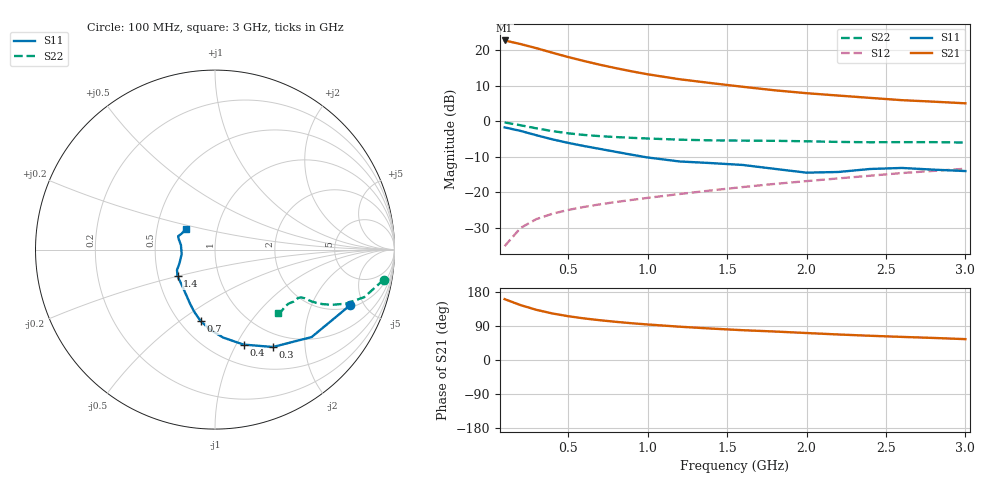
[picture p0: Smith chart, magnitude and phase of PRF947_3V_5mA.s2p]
! Filename:  PRF947D.S2P  Version:  3.0
! Philips part #:  PRF947  Date:  Dec 1999
! Bias condition:  Vce=3V, Ic=5mA
#  MHz  S  MA  R 50
! Freq  S11  S21  S12  S22  :
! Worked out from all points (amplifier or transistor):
!   20 points, 100 MHz to 3 GHz, reference 50 ohm
!   highest |S21| = 22.7 dB at 100 MHz (marker M1)
!   |S21| within 3 dB of that: start of sweep to 364.7 MHz
!   unconditionally stable (mu >= 1): 1.463 GHz to end of sweep
!   at 400 MHz: K = 0.50, MSG = 22.7 dB, |S12| = -26.1 dB
!   at 1.2 GHz: K = 0.97, MSG = 16.2 dB, |S12| = -20.6 dB
!   at 3 GHz: K = 1.06, MAG = 7.7 dB, |S12| = -13.4 dB
!   S11 on the Smith chart (normalised r, x): 100 MHz: 2.15, -3.95; 300 MHz: 0.80, -1.44; 400 MHz: 0.70, -1.07; 700 MHz: 0.63, -0.60; 1.4 GHz: 0.63, -0.20; 3 GHz: 0.71, +0.17
100  0.8144 -22.3  13.64 160.6  0.01728 78.0  0.955 -10.1
200  0.7261 -42.2  12.15 144.9  0.03117 69.7  0.8728 -17.7
300  0.6312 -59.3  10.62 132.4  0.04158 64.5  0.7889 -22.4
400  0.5527 -73.2  9.17 122.9  0.04942 61.9  0.7215 -25.2
500  0.4923 -84.7  7.97 115.6  0.05588 61.0  0.672 -26.9
600  0.4447 -93.9  7.006 109.8  0.0617 61.1  0.6371 -27.7
700  0.4048 -101.5  6.205 104.9  0.06715 61.7  0.6128 -28.2
800  0.3683 -107.9  5.558 100.8  0.07234 62.5  0.5947 -28.3
900  0.3352 -114.1  5.008 97.0  0.07745 63.6  0.5799 -28.4
1000  0.3067 -120.4  4.558 93.7  0.08273 64.6  0.5676 -28.5
1200  0.2696 -133.7  3.881 87.9  0.09371 66.4  0.5466 -29.1
1400  0.2557 -144.8  3.422 82.9  0.1054 67.9  0.5341 -30.6
1600  0.2405 -151.7  3.034 78.6  0.1176 69.5  0.5299 -32.2
1800  0.212 -159.0  2.709 75.2  0.1301 70.7  0.5264 -33.3
2000  0.1875 -172.2  2.467 71.2  0.1425 71.7  0.5186 -34.5
2200  0.1916 172.2  2.285 67.4  0.1556 72.4  0.508 -36.4
2400  0.2112 163.6  2.119 63.9  0.1697 72.8  0.5027 -39.2
2600  0.2185 159.9  1.967 61.0  0.1852 73.2  0.5044 -41.7
2800  0.2067 154.8  1.874 58.2  0.1985 73.6  0.5042 -43.4
3000  0.1974 143.7  1.776 55.1  0.2131 74.0  0.4976 -45.2
